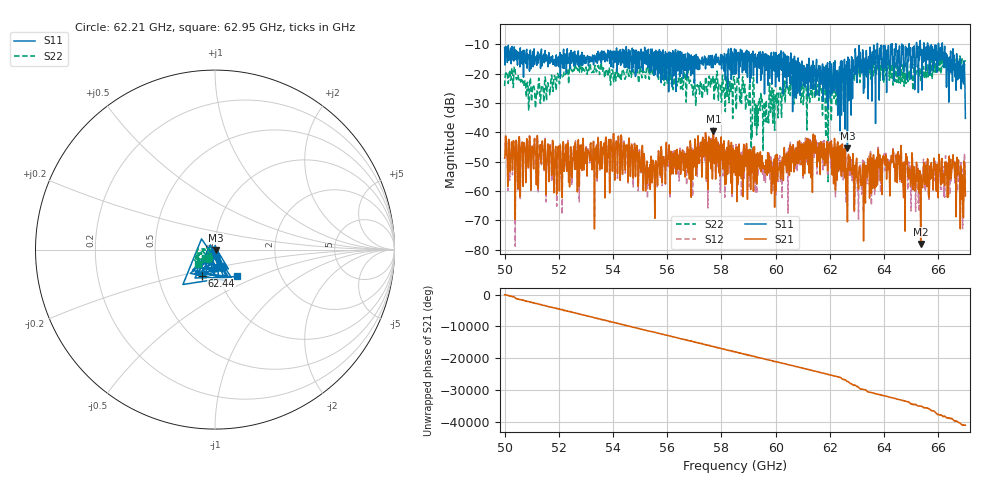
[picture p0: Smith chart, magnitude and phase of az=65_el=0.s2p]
!Created with skrf (http://scikit-rf.org).
# GHz S RI R 50.0
!freq ReS11 ImS11 ReS21 ImS21 ReS12 ImS12 ReS22 ImS22
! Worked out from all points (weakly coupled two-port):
!   1001 points, 50 GHz to 67 GHz, reference 50 ohm
!   highest |S21| = -39.54 dB at 57.7 GHz (marker M1); lowest = -78.1 dB at 65.35 GHz (marker M2)
!   lowest |S11| = -45.4 dB at 62.65 GHz (marker M3), VSWR 1.01, Z = 50.5 - j0.248 ohm
!   |S11| at or under -10 dB: start of sweep to 63.75 GHz; 63.75 GHz to 64.3 GHz (542.1 MHz wide, 0.847 % of centre); 66.15 GHz to end of sweep (the widest 3 of 12)
!   |S22| runs from -56.9 to -14.0 dB; largest |S21 - S12| = 0.0024
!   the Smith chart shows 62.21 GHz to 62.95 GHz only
!   S11 on the Smith chart (normalised r, x): 62.21 GHz: 1.05, -0.20; 62.44 GHz: 0.83, -0.25; 62.95 GHz: 1.21, -0.37
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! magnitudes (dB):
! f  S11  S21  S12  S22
! 50 GHz  -11.1  -48.9  -48.1  -24.3
! 50.42 GHz  -15.3  -42.8  -42.7  -21.8
! 51.07 GHz  -13.1  -52.5  -52.4  -24.2
! 52.84 GHz  -14.6  -44.5  -44.2  -19.5
! 55.68 GHz  -14.4  -46.4  -46.3  -22.0
! 57.7 GHz  -16.6  -39.5  -38.5  -20.8
! 58.5 GHz  -20.3  -47.3  -48.2  -24.6
! 59.62 GHz  -13.2  -53.9  -57.3  -36.4
! 59.93 GHz  -12.7  -50.1  -49.2  -25.7
! 60.64 GHz  -15.0  -44.3  -44.0  -22.2
! 61.34 GHz  -23.0  -43.7  -44.4  -25.4
! 62.21 GHz  -19.8  -59.8  -62.0  -24.5
! 62.44 GHz  -15.7  -46.6  -47.2  -24.3
! 62.65 GHz  -45.4  -70.6  -65.3  -23.3
! 62.95 GHz  -14.4  -55.5  -54.0  -18.2
! 64.18 GHz  -17.0  -50.1  -49.5  -18.4
! 64.6 GHz  -17.0  -49.6  -48.6  -23.3
! 65.35 GHz  -13.8  -78.1  -63.0  -22.4
! 66.18 GHz  -12.9  -54.1  -54.5  -17.6
! 66.54 GHz  -11.6  -47.7  -47.8  -17.8
! 66.9 GHz  -17.1  -58.7  -72.9  -15.3
! 67 GHz  -35.3  -61.7  -57.4  -15.4
